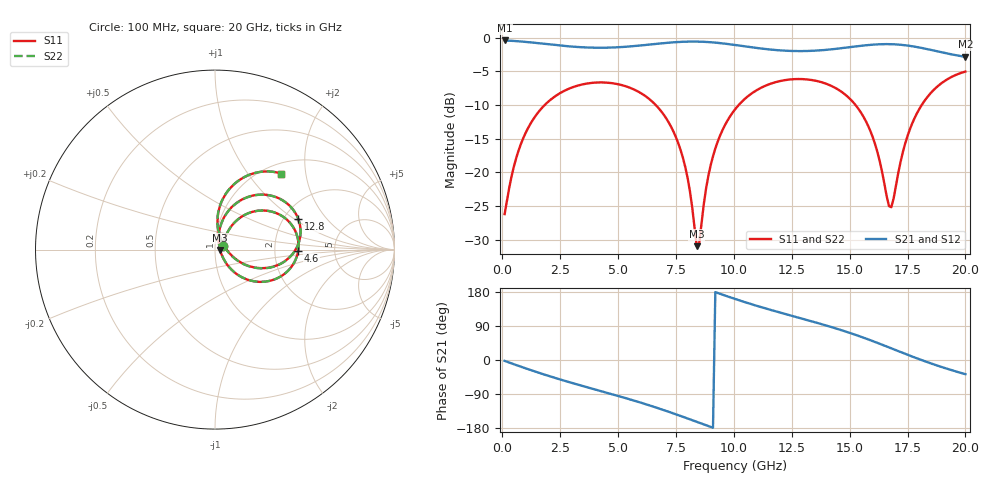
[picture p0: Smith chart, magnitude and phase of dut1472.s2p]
! Touchstone file exported from HFSS 2026.1.0
!  File:  C:/ffzhzh/LocalFiles/Ansys_Project_Files/temp_train_TSV_RDL_1472_1783361806_4416.aedt
!  Generated:  02:30:13 AM Jul  7, 2026
!  Design:  TSV_RDL
!  Project:  temp_train_TSV_RDL_1472_1783361806_4416
! Variables:
!  h_bsmrdl = 4.66um
!  h_ox = 20um
!  h_rdl = 5um
!  h_sub = 75.82um
!  h_tmrdl = 2.91um
!  h_tsv = 75.82um
!  h_via = 3um
!  l_bsmrdl = 661.35um
!  l_sub = 6115.22um
!  l_tmrdl = 903.7um
!  m_sub = 200um
!  pitch = 40.35um
!  r_tsv = 13.15um
!  s_tmrdl = 10um
!  w_bsmrdl = 27.75um
!  w_sub = 500um
!  w_tmrdl = 11.04um
!  x_tsv_center1 = 909.22um
!  x_tsv_center2 = 1598.32um
!  x_tsv_center3 = 2513.06um
!  x_tsv_center4 = 3202.16um
!  x_tsv_center5 = 4116.9um
!  x_tsv_center6 = 4806um
# GHz S MA R 50.000000
! Terminal data exported
! Port[1] = TM_RDL1_1_T1
! Port[2] = TM_RDL5_1_T1
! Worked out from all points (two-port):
!   200 points, 100 MHz to 20 GHz, reference 50 ohm
!   highest |S21| = -0.39 dB at 100 MHz (marker M1); lowest = -2.8 dB at 20 GHz (marker M2)
!   |S21| within 3 dB of the highest: start of sweep to end of sweep
!   lowest |S11| = -30.9 dB at 8.4 GHz (marker M3), VSWR 1.06, Z = 52.9 - j0.203 ohm
!   |S11| at or under -10 dB: start of sweep to 1.828 GHz; 6.631 GHz to 10.21 GHz (3.574 GHz wide, 42.5 % of centre); 15.26 GHz to 18.11 GHz (2.852 GHz wide, 17.1 % of centre)
!   |S22| runs from -30.8 to -5.0 dB; largest |S21 - S12| = 1.6e-14
!   S11 on the Smith chart (normalised r, x): 100 MHz: 1.09, +0.04; 4.6 GHz: 2.73, -0.05; 12.8 GHz: 2.40, +1.07; 20 GHz: 1.19, +1.47
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0.1  0.04905 23.5  0.9556 -2.3  0.9556 -2.3  0.04905 23.5
! Gamma 0 0 0 0
! Port Impedance 50 0 50 0
0.6  0.1279 54.7  0.945 -13.3  0.945 -13.3  0.1279 54.7
1.3  0.2429 50.5  0.9222 -28.1  0.9222 -28.1  0.2429 50.5
3.5  0.4523 16.5  0.8497 -69.1  0.8497 -69.1  0.4523 16.5
4.6  0.4633 -0.9  0.8455 -88.0  0.8455 -88.0  0.4633 -0.9
6.8  0.2935 -37.5  0.9069 -128.6  0.9069 -128.6  0.2936 -37.4
7.8  0.1287 -51.1  0.9344 -149.8  0.9344 -149.8  0.1288 -50.9
8.1  0.07327 -48.0  0.9374 -156.5  0.9374 -156.5  0.07347 -47.5
8.4  0.02838 -3.9  0.9372 -163.2  0.9372 -163.2  0.029 -3.4
8.5  0.02929 34.4  0.9364 -165.4  0.9364 -165.4  0.02993 34.0
8.8  0.07594 74.5  0.9318 -172.1  0.9318 -172.1  0.07623 74.0
9.1  0.1321 77.1  0.924 -178.7  0.924 -178.7  0.1323 76.8
10.1  0.3012 63.5  0.8824 160.1  0.8824 160.1  0.3013 63.3
12.8  0.4943 20.0  0.7968 111.6  0.7968 111.6  0.4944 19.9
13.4  0.4849 10.8  0.8009 101.4  0.8009 101.4  0.4849 10.6
15.6  0.2591 -23.2  0.8765 59.0  0.8765 59.0  0.259 -23.5
16.2  0.1419 -25.7  0.894 45.2  0.894 45.2  0.1416 -26.3
16.7  0.05633 15.4  0.8975 33.3  0.8975 33.3  0.05513 14.9
16.9  0.06411 57.8  0.8953 28.4  0.8953 28.4  0.06291 58.2
17.4  0.1641 85.1  0.8805 16.3  0.8805 16.3  0.1635 85.5
18  0.2942 80.6  0.8479 2.3  0.8479 2.3  0.2938 80.8
20  0.5615 48.9  0.7227 -37.5  0.7227 -37.5  0.5614 48.9
